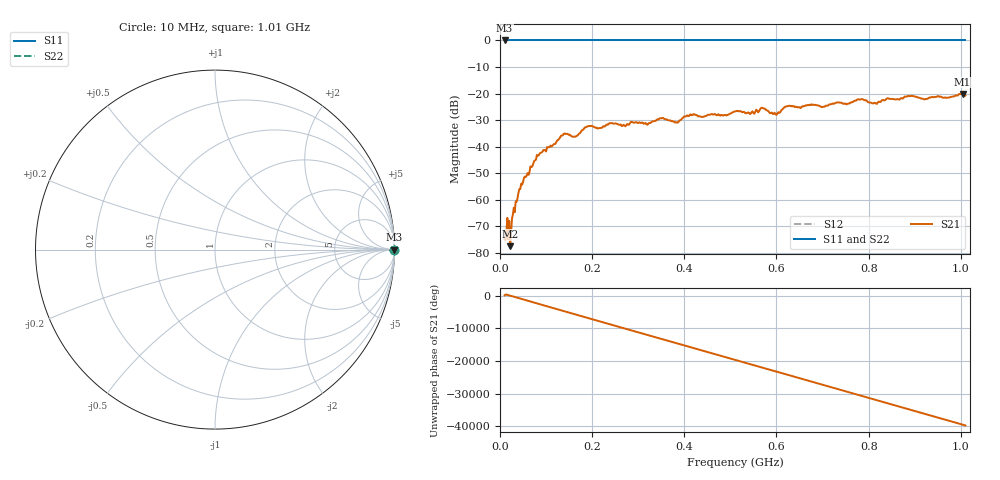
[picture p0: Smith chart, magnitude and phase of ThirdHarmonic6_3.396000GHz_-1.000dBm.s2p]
! 8/17/2025 10:50:10 AM
! C:\ANRITSUVNA\TEMP\TEMP.S2P
! CHANNEL.1
! TR.MEASUREMENT
! RAW.DATA
! RF.CORRECTION.OFF
! AVERAGING.OFF
! IF.BANDWIDTH: 5KHZ
! SWEEPTYPE:  FREQ.SWEEP(Linear)
! Reference Plane Port Info
! PORT:  PORT1  PORT2
! DISTANCE:  0  m  0  m
! TIME:  0  s  0  s
! PHASE.OFFSET:  0  deg.  0  deg.
! LOSS:  0  dB  0  dB
! REF.LOSS:  0  dB  0  dB
! REF.FREQ:  0  Hz  0  Hz
! Power Info
! POWER:  -20  dBm  -20  dBm
! EFF.POWER:  -20  dBm  -20  dBm
! SOURCE.ATTEN:  0  dB  0  dB
! TEST.ATTEN:  0  dB  0  dB
# GHZ S RI R 50.0
! FREQ.GHZ  S11RE  S11IM  S21RE  S21IM  S12RE  S12IM  S22RE  S22IM
!; PortSelection: Port_12
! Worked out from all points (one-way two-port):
!   501 points, 10 MHz to 1.01 GHz, reference 50 ohm
!   highest |S21| = -20.14 dB at 1.004 GHz (marker M1); lowest = -77.5 dB at 22 MHz (marker M2)
!   lowest |S11| = 0.0 dB at 10 MHz (marker M3)
!   |S11| at or under -10 dB: nowhere
!   |S22| runs from 0.0 to 0.0 dB; largest |S21 - S12| = 1.1
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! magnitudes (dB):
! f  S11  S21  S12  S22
! 10 MHz  0.0  -74.9  0.0  0.0
! 16 MHz  0.0  -66.9  0.0  0.0
! 22 MHz  0.0  -77.5  0.0  0.0
! 30 MHz  0.0  -63.0  0.0  0.0
! 44 MHz  0.0  -56.0  0.0  0.0
! 84 MHz  0.0  -43.3  0.0  0.0
! 136 MHz  0.0  -35.8  0.0  0.0
! 162 MHz  0.0  -36.3  0.0  0.0
! 178 MHz  0.0  -33.9  0.0  0.0
! 344 MHz  0.0  -29.8  0.0  0.0
! 382 MHz  0.0  -30.8  0.0  0.0
! 416 MHz  0.0  -28.2  0.0  0.0
! 510 MHz  0.0  -26.8  0.0  0.0
! 570 MHz  0.0  -25.4  0.0  0.0
! 596 MHz  0.0  -27.2  0.0  0.0
! 624 MHz  0.0  -24.7  0.0  0.0
! 678 MHz  0.0  -24.3  0.0  0.0
! 782 MHz  0.0  -22.3  0.0  0.0
! 814 MHz  0.0  -23.5  0.0  0.0
! 844 MHz  0.0  -21.9  0.0  0.0
! 1.004 GHz  0.0  -20.1  0.0  0.0
! 1.01 GHz  0.0  -20.8  0.0  0.0
